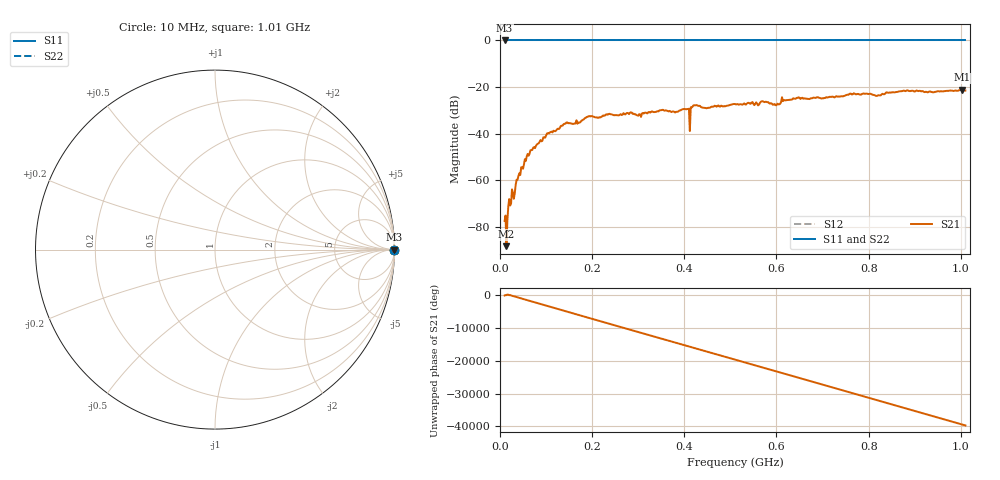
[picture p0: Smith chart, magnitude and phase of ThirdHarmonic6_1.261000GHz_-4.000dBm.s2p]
! 8/16/2025 1:33:26 PM
! C:\ANRITSUVNA\TEMP\TEMP.S2P
! CHANNEL.1
! TR.MEASUREMENT
! RAW.DATA
! RF.CORRECTION.OFF
! AVERAGING.OFF
! IF.BANDWIDTH: 5KHZ
! SWEEPTYPE:  FREQ.SWEEP(Linear)
! Reference Plane Port Info
! PORT:  PORT1  PORT2
! DISTANCE:  0  m  0  m
! TIME:  0  s  0  s
! PHASE.OFFSET:  0  deg.  0  deg.
! LOSS:  0  dB  0  dB
! REF.LOSS:  0  dB  0  dB
! REF.FREQ:  0  Hz  0  Hz
! Power Info
! POWER:  -20  dBm  -20  dBm
! EFF.POWER:  -20  dBm  -20  dBm
! SOURCE.ATTEN:  0  dB  0  dB
! TEST.ATTEN:  0  dB  0  dB
# GHZ S RI R 50.0
! FREQ.GHZ  S11RE  S11IM  S21RE  S21IM  S12RE  S12IM  S22RE  S22IM
!; PortSelection: Port_12
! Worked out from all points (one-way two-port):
!   501 points, 10 MHz to 1.01 GHz, reference 50 ohm
!   highest |S21| = -21.09 dB at 1.002 GHz (marker M1); lowest = -88.2 dB at 14 MHz (marker M2)
!   lowest |S11| = 0.0 dB at 10 MHz (marker M3)
!   |S11| at or under -10 dB: nowhere
!   |S22| runs from 0.0 to 0.0 dB; largest |S21 - S12| = 1.1
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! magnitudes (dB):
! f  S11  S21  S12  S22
! 10 MHz  0.0  -77.4  0.0  0.0
! 14 MHz  0.0  -88.2  0.0  0.0
! 22 MHz  0.0  -70.8  0.0  0.0
! 28 MHz  0.0  -65.3  0.0  0.0
! 38 MHz  0.0  -59.7  0.0  0.0
! 56 MHz  0.0  -51.7  0.0  0.0
! 70 MHz  0.0  -47.0  0.0  0.0
! 104 MHz  0.0  -39.7  0.0  0.0
! 142 MHz  0.0  -35.7  0.0  0.0
! 178 MHz  0.0  -34.3  0.0  0.0
! 196 MHz  0.0  -32.6  0.0  0.0
! 344 MHz  0.0  -30.4  0.0  0.0
! 406 MHz  0.0  -29.4  0.0  0.0
! 408 MHz  0.0  -29.4  0.0  0.0
! 424 MHz  0.0  -27.8  0.0  0.0
! 510 MHz  0.0  -27.2  0.0  0.0
! 602 MHz  0.0  -27.1  0.0  0.0
! 616 MHz  0.0  -25.7  0.0  0.0
! 678 MHz  0.0  -24.8  0.0  0.0
! 844 MHz  0.0  -22.4  0.0  0.0
! 1.002 GHz  0.0  -21.1  0.0  0.0
! 1.01 GHz  0.0  -21.5  0.0  0.0
